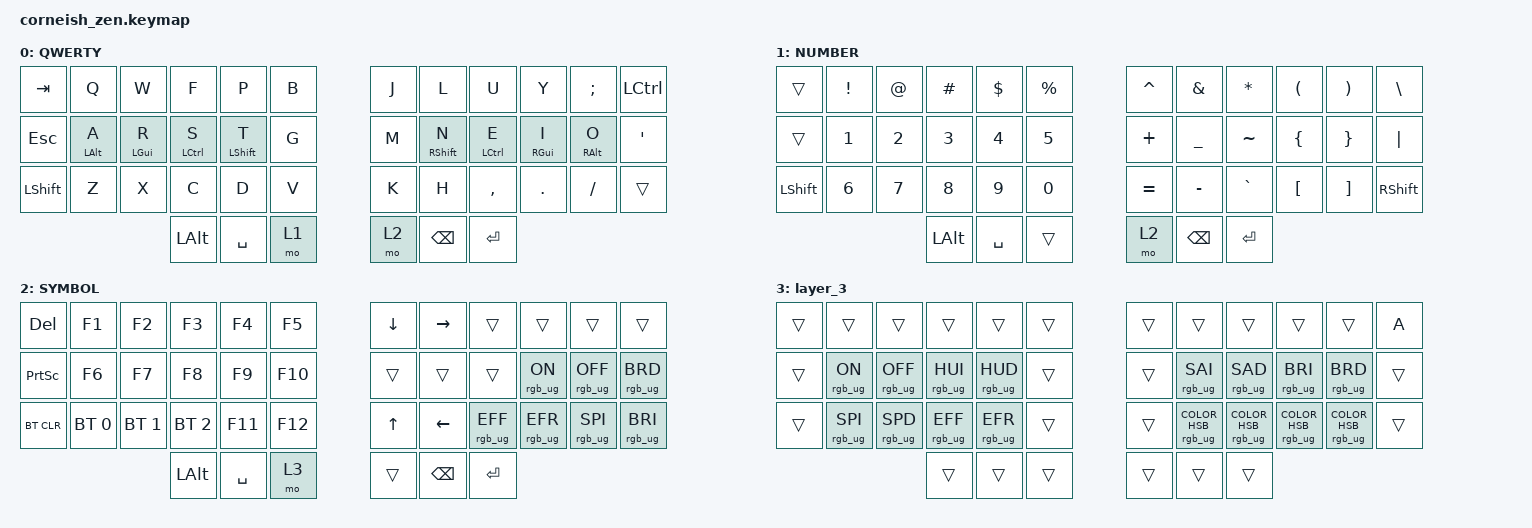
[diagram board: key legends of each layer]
/*
 * Copyright (c) 2020 The ZMK Contributors
 *
 * SPDX-License-Identifier: MIT
 */

#include <behaviors.dtsi>
#include <dt-bindings/zmk/bt.h>
#include <dt-bindings/zmk/keys.h>
#include <dt-bindings/zmk/rgb.h>

/ {
    chosen {
        zmk,matrix_transform = &default_transform;

        // zmk,matrix_transform = &five_column_transform;
    };
};

/ {
    behaviors {
        hrmr: hrmr {
            compatible = "zmk,behavior-hold-tap";
            label = "HRMR";
            bindings = <&kp>, <&kp>;

            #binding-cells = <2>;
            tapping-term-ms = <230>;
            quick-tap-ms = <175>;
            flavor = "tap-preferred";
            hold-trigger-on-release;
            hold-trigger-key-positions = <0 1 2 3 4 5 12 13 14 15 16 17 24 25 26 27 28 29 36 37 38 39 40 41>;
        };

        hrml: hrml {
            compatible = "zmk,behavior-hold-tap";
            label = "HRML";
            bindings = <&kp>, <&kp>;

            #binding-cells = <2>;
            hold-trigger-key-positions = <6 6 7 8 9 10 11 18 19 20 21 22 23 30 31 32 33 34 35 40 41 40 39 38 37 36>;
            tapping-term-ms = <230>;
            quick-tap-ms = <175>;
            hold-trigger-on-release;
            flavor = "tap-preferred";
        };
    };

    keymap {
        compatible = "zmk,keymap";

        default_layer {
            display-name = "QWERTY";

            // --------------------------------------------------------------------------------
            // |  TAB |  Q  |  W  |  E  |  R  |  T  |   |  Y  |  U   |  I  |  O  |  P  | ESC |
            // | CTRL |  A  |  S  |  D  |  F  |  G  |   |  H  |  J   |  K  |  L  |  ;  |  '   | 
            // | SHFT |  Z  |  X  |  C  |  V  |  B  |   |  N  |  M   |  ,  |  .  |  /  | ESC  |
            //                    | GUI | LWR | SPC |   | ENT | RSE  | ALT |

            bindings = <
&kp TAB     &kp Q             &kp W             &kp F                 &kp P               &kp B    &kp J  &kp L                &kp U                 &kp Y              &kp SEMI           &kp LEFT_CONTROL
&kp ESCAPE  &hrml LEFT_ALT A  &hrml LEFT_GUI R  &hrml LEFT_CONTROL S  &hrml LEFT_SHIFT T  &kp G    &kp M  &hrmr RIGHT_SHIFT N  &hrmr LEFT_CONTROL E  &hrmr RIGHT_GUI I  &hrmr RIGHT_ALT O  &kp SQT
&kp LSHFT   &kp Z             &kp X             &kp C                 &kp D               &kp V    &kp K  &kp H                &kp COMMA             &kp DOT            &kp FSLH           &trans
                                                &kp LALT              &kp SPACE           &mo 1    &mo 2  &kp BACKSPACE        &kp RET
            >;
        };

        lower_layer {
            display-name = "NUMBER";

            // -----------------------------------------------------------------------------------------
            // |  TAB |  1  |  2  |  3  |  4  |  5  |   |  6  |  7  |  8  |  9  |  0  | BKSP |
            // | BTCLR| BT1 | BT2 | BT3 | BT4 | BT5 |   | LFT | DWN |  UP | RGT |     |      |
            // | SHFT |     |     |     |     |     |   |     |     |     |     |     |      |
            //                    | GUI |     | SPC |   | ENT |     | ALT |

            bindings = <
&trans     &kp EXCL  &kp AT  &kp HASH  &kp DLLR   &kp PRCNT    &kp CARET  &kp AMPS        &kp ASTERISK  &kp LPAR          &kp RPAR           &kp BSLH
&trans     &kp N1    &kp N2  &kp N3    &kp N4     &kp N5       &kp PLUS   &kp UNDERSCORE  &kp TILDE     &kp LEFT_BRACE    &kp RIGHT_BRACE    &kp PIPE
&kp LSHFT  &kp N6    &kp N7  &kp N8    &kp N9     &kp N0       &kp EQUAL  &kp MINUS       &kp GRAVE     &kp LEFT_BRACKET  &kp RIGHT_BRACKET  &kp RSHFT
                             &kp LALT  &kp SPACE  &trans       &mo 2      &kp BSPC        &kp RET
            >;
        };

        raise_layer {
            display-name = "SYMBOL";

            // -----------------------------------------------------------------------------------------
            // |       |  F1  |  F2  |  F3  |  F4  |  F5 |            |  F6  |  F7  |  F8  |  F9  |  F10  |   |
            // |       | Prev | Next | Vol - | Vol + | Play/Pause |   |      | LFT | DWN |  UP | RGT |     |     |
            // | BTCLR | BT1  | BT2  | BT3  | BT4  | BT5 |   |            |     |     |     |     |     |     |
            //                    |     |     |    |                  |     |     |     |

            bindings = <
&kp DELETE       &kp F1        &kp F2        &kp F3        &kp F4     &kp F5     &kp DOWN      &kp RIGHT  &trans           &trans           &trans           &trans
&kp PRINTSCREEN  &kp F6        &kp F7        &kp F8        &kp F9     &kp F10    &trans        &trans     &trans           &rgb_ug RGB_ON   &rgb_ug RGB_OFF  &rgb_ug RGB_BRD
&bt BT_CLR       &bt BT_SEL 0  &bt BT_SEL 1  &bt BT_SEL 2  &kp F11    &kp F12    &kp UP_ARROW  &kp LEFT   &rgb_ug RGB_EFF  &rgb_ug RGB_EFR  &rgb_ug RGB_SPI  &rgb_ug RGB_BRI
                                             &kp LEFT_ALT  &kp SPACE  &mo 3      &trans        &kp BSPC   &kp RET
            >;
        };

        layer_3 {
            bindings = <
&trans  &trans           &trans           &trans           &trans           &trans    &trans  &trans                             &trans                             &trans                             &trans                            &kp A
&trans  &rgb_ug RGB_ON   &rgb_ug RGB_OFF  &rgb_ug RGB_HUI  &rgb_ug RGB_HUD  &trans    &trans  &rgb_ug RGB_SAI                    &rgb_ug RGB_SAD                    &rgb_ug RGB_BRI                    &rgb_ug RGB_BRD                   &trans
&trans  &rgb_ug RGB_SPI  &rgb_ug RGB_SPD  &rgb_ug RGB_EFF  &rgb_ug RGB_EFR  &trans    &trans  &rgb_ug RGB_COLOR_HSB(319,100,50)  &rgb_ug RGB_COLOR_HSB(360,100,50)  &rgb_ug RGB_COLOR_HSB(175,100,50)  &rgb_ug RGB_COLOR_HSB(62,100,50)  &trans
                                          &trans           &trans           &trans    &trans  &trans                             &trans
            >;
        };
    };
};
